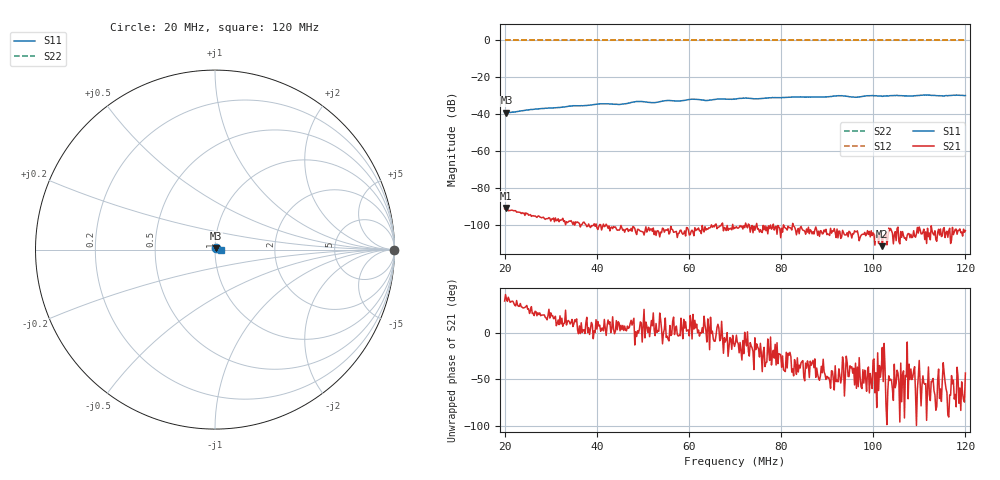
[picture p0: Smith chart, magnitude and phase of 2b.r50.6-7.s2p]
! Anritsu VNA Master:  Model: MS2036C/10/77
! SN:  1601066
! /card0/usr/18may27.balun/252b.r50.5.s2p
! Existing Calibration Information:
! TYPE:  Current Settings,  Active Cal Settings
! TIME:  05/27/2018 01:26:34 PM,  05/27/2018 01:14:08 PM
! INTERNAL TEMP:  52.0 C,  52.0 C
! # POINTS:  500,  500
! START FREQ:  20.000 MHz,  20.000 MHz
! STOP FREQ:  120.000 MHz,  120.000 MHz
! SOURCE POWER:  High,  High
! IFBW:  50 Hz,  50 Hz
! AVG FACTOR:  1 ,  1
! REF PLANE 1:  0 mm,  0 mm
! REF PLANE 2:  0 mm,  0 mm
! CAL TYPE:  Full S11,  Full S11
! CAL METHOD:  SOLT,  SOLT
! CAL LINE TYPE:  Coax,  Coax
! DUT PORT 1:  K-Conn(M),  K-Conn(M)
! DUT PORT 2:  K-Conn(M),  K-Conn(M)
! CAL STATUS:  OK: Accuracy High,  --
# GHZ S DB R 50.0
! FREQ.GHZ  S11DB  S11A  S21DB  S21A  S12DB  S12A  S22DB  S22A
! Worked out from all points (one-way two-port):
!   500 points, 20 MHz to 120 MHz, reference 50 ohm
!   highest |S21| = -90.76 dB at 20.2 MHz (marker M1); lowest = -111.4 dB at 102 MHz (marker M2)
!   lowest |S11| = -39.1 dB at 20.4 MHz (marker M3), VSWR 1.02, Z = 50.7 + j0.889 ohm
!   |S11| at or under -10 dB: start of sweep to end of sweep
!   |S22| runs from 0.0 to 0.0 dB; largest |S21 - S12| = 1
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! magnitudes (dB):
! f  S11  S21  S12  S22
! 20 MHz  -39.0  -91.1  0.0  0.0
! 20.2 MHz  -39.0  -90.8  0.0  0.0
! 20.4 MHz  -39.1  -91.3  0.0  0.0
! 26.61 MHz  -37.2  -95.0  0.0  0.0
! 36.83 MHz  -35.4  -99.5  0.0  0.0
! 41.04 MHz  -34.4  -102.6  0.0  0.0
! 45.25 MHz  -34.6  -100.2  0.0  0.0
! 48.86 MHz  -33.0  -102.3  0.0  0.0
! 52.26 MHz  -33.7  -101.6  0.0  0.0
! 53.47 MHz  -33.2  -103.8  0.0  0.0
! 57.88 MHz  -32.9  -104.4  0.0  0.0
! 60.68 MHz  -31.8  -102.7  0.0  0.0
! 63.89 MHz  -32.6  -102.0  0.0  0.0
! 66.29 MHz  -31.7  -101.2  0.0  0.0
! 70.1 MHz  -31.7  -101.5  0.0  0.0
! 86.73 MHz  -30.7  -104.8  0.0  0.0
! 92.75 MHz  -30.0  -103.3  0.0  0.0
! 95.95 MHz  -30.7  -103.1  0.0  0.0
! 98.96 MHz  -30.0  -105.1  0.0  0.0
! 102 MHz  -30.3  -111.4  0.0  0.0
! 103.4 MHz  -30.1  -101.6  0.0  0.0
! 120 MHz  -29.9  -103.0  0.0  0.0
